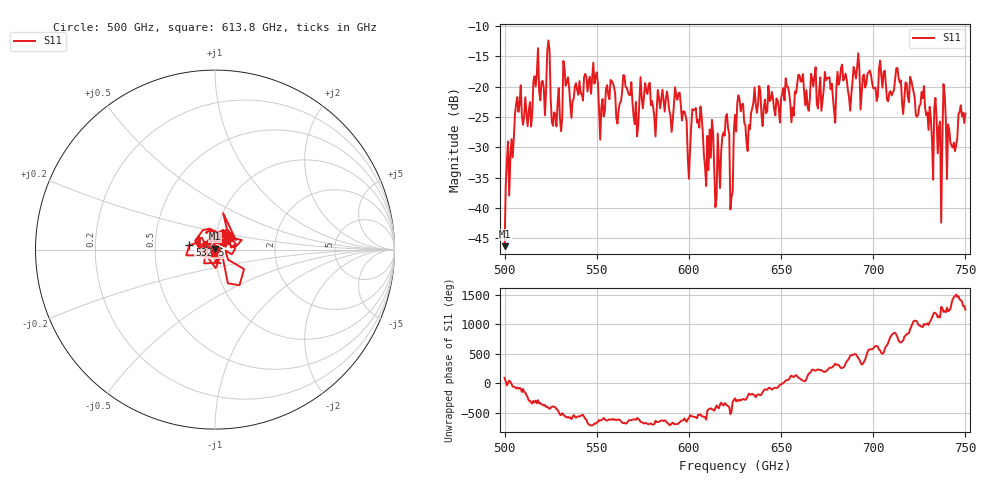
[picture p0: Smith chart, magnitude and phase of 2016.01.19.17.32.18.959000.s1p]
!Created with skrf (http://scikit-rf.org).
# GHz S RI R 50.0
!freq ReS11 ImS11
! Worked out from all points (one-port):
!   401 points, 500 GHz to 750 GHz, reference 50 ohm
!   lowest |S11| = -46.3 dB at 500 GHz (marker M1), VSWR 1.01, Z = 49.9 + j0.483 ohm
!   |S11| at or under -10 dB: start of sweep to end of sweep
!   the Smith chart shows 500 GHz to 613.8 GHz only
!   S11 on the Smith chart (normalised r, x): 500 GHz: 1.00, +0.01; 532.5 GHz: 0.75, +0.04; 613.8 GHz: 0.99, -0.04
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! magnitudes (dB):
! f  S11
! 500 GHz  -46.3
! 507.5 GHz  -24.1
! 513.8 GHz  -22.5
! 516.9 GHz  -19.9
! 523.8 GHz  -12.4
! 526.9 GHz  -24.2
! 531.2 GHz  -25.3
! 532.5 GHz  -16.8
! 562.5 GHz  -22.7
! 593.8 GHz  -22.1
! 600 GHz  -35.2
! 603.1 GHz  -23.8
! 613.8 GHz  -33.6
! 620.6 GHz  -24.5
! 623.1 GHz  -38.2
! 625 GHz  -24.6
! 627.5 GHz  -22.2
! 631.9 GHz  -30.6
! 636.9 GHz  -24.3
! 656.2 GHz  -23.4
! 660.6 GHz  -19.2
! 687.5 GHz  -23.9
! 690.6 GHz  -18.6
! 718.8 GHz  -21.7
! 734.4 GHz  -25.3
! 736.2 GHz  -25.7
! 739.4 GHz  -25.3
! 750 GHz  -24.4
